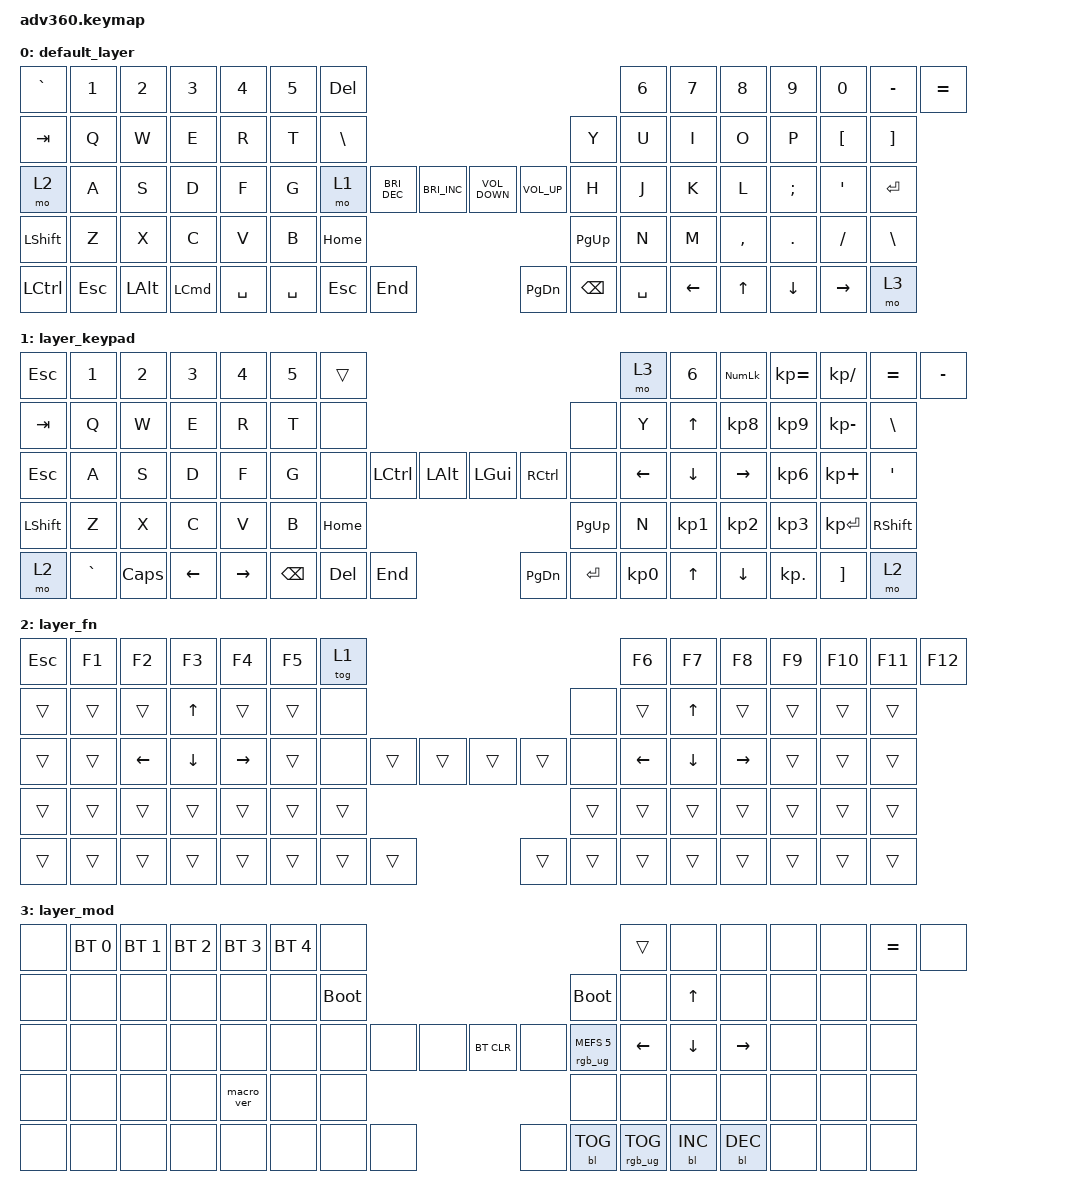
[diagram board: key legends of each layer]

/*
 * Copyright (c) 2020 The ZMK Contributors
 *
 * SPDX-License-Identifier: MIT
 */


/* THIS FILE WAS GENERATED!
 *
 * This file was generated automatically. You may or may not want to
 * edit it directly.
 */

#include <behaviors.dtsi>
#include <dt-bindings/zmk/keys.h>
#include <dt-bindings/zmk/bt.h>
#include <dt-bindings/zmk/rgb.h>
#include <dt-bindings/zmk/backlight.h>

/ {
  behaviors {
    #include "macros.dtsi"
    #include "version.dtsi"

    hm: homerow_mods {
        compatible = "zmk,behavior-hold-tap";
        label = "HOMEROW_MODS";
        #binding-cells = <2>;
        tapping-term-ms = <200>;
        quick_tap_ms = <175>;
        flavor = "tap-preferred";
        bindings = <&kp>, <&kp>;
    };
  };

    keymap {
        compatible = "zmk,keymap";


        default_layer {
            bindings = <
 &kp GRAVE   &kp N1        &kp N2            &kp N3     &kp N4  &kp N5               &kp DELETE                                                                                              &kp N6  &kp N7    &kp N8     &kp N9         &kp N0         &kp MINUS          &kp EQUAL
   &kp TAB    &kp Q         &kp W             &kp E      &kp R   &kp T            &kp BACKSLASH                                                                                               &kp Y   &kp U     &kp I      &kp O          &kp P  &kp LEFT_BRACKET  &kp RIGHT_BRACKET
     &mo 2    &kp A         &kp S             &kp D      &kp F   &kp G                    &mo 1  &kp C_BRIGHTNESS_DEC  &kp C_BRI_INC                  &kp C_VOLUME_DOWN  &kp C_VOLUME_UP      &kp H   &kp J     &kp K      &kp L  &kp SEMICOLON  &kp SINGLE_QUOTE          &kp ENTER
 &kp LSHFT    &kp Z         &kp X             &kp C      &kp V   &kp B                                                      &kp HOME                          &kp PG_UP                               &kp N     &kp M  &kp COMMA        &kp DOT          &kp FSLH      &kp BACKSLASH
 &kp LCTRL  &kp ESC  &kp LEFT_ALT  &kp LEFT_COMMAND  &kp SPACE                        &kp SPACE            &kp ESCAPE        &kp END                          &kp PG_DN    &kp BACKSPACE  &kp SPACE          &kp LEFT     &kp UP       &kp DOWN         &kp RIGHT              &mo 3
            >;
        };

        layer_keypad {
            bindings = <
 &kp ESCAPE     &kp N1    &kp N2    &kp N3     &kp N4  &kp N5              &trans                                                                 &mo 3    &kp N6  &kp KP_NUM  &kp KP_EQUAL  &kp KP_DIVIDE     &kp EQUAL  &kp MINUS
    &kp TAB      &kp Q     &kp W     &kp E      &kp R   &kp T               &none                                                                 &none     &kp Y      &kp UP     &kp KP_N8      &kp KP_N9  &kp KP_MINUS   &kp BSLH
    &kp ESC      &kp A     &kp S     &kp D      &kp F   &kp G               &none  &kp LCTRL  &kp LALT                   &kp LGUI  &kp RCTRL      &none  &kp LEFT    &kp DOWN     &kp RIGHT      &kp KP_N6   &kp KP_PLUS    &kp SQT
  &kp LSHFT      &kp Z     &kp X     &kp C      &kp V   &kp B                                 &kp HOME                  &kp PG_UP                           &kp N   &kp KP_N1     &kp KP_N2      &kp KP_N3  &kp KP_ENTER  &kp RSHFT
      &mo 2  &kp GRAVE  &kp CAPS  &kp LEFT  &kp RIGHT                    &kp BSPC    &kp DEL   &kp END                  &kp PG_DN  &kp ENTER  &kp KP_N0                &kp UP      &kp DOWN     &kp KP_DOT      &kp RBKT      &mo 2
            >;
        };

        layer_fn {
            bindings = <
 &kp ESCAPE  &kp F1    &kp F2    &kp F3     &kp F4  &kp F5            &tog 1                                                  &kp F6    &kp F7    &kp F8     &kp F9  &kp F10  &kp F11  &kp F12
     &trans  &trans    &trans    &kp UP     &trans  &trans             &none                                                   &none    &trans    &kp UP     &trans   &trans   &trans   &trans
     &trans  &trans  &kp LEFT  &kp DOWN  &kp RIGHT  &trans             &none  &trans  &trans                  &trans  &trans   &none  &kp LEFT  &kp DOWN  &kp RIGHT   &trans   &trans   &trans
     &trans  &trans    &trans    &trans     &trans  &trans                            &trans                  &trans                    &trans    &trans     &trans   &trans   &trans   &trans
     &trans  &trans    &trans    &trans     &trans                    &trans  &trans  &trans                  &trans  &trans  &trans              &trans     &trans   &trans   &trans   &trans
            >;
        };

        layer_mod {
            bindings = <
  &none  &bt BT_SEL 0  &bt BT_SEL 1  &bt BT_SEL 2  &bt BT_SEL 3  &bt BT_SEL 4                  &none                                                                          &trans     &none       &none       &none   &none  &kp EQUAL   &none
  &none         &none         &none         &none         &none         &none            &bootloader                                                                     &bootloader     &none      &kp UP       &none   &none      &none   &none
  &none         &none         &none         &none         &none         &none                  &none   &none   &none                  &bt BT_CLR       &none  &rgb_ug RGB_MEFS_CMD 5  &kp LEFT    &kp DOWN   &kp RIGHT   &none      &none   &none
  &none         &none         &none         &none    &macro_ver         &none                                  &none                       &none                                         &none       &none       &none   &none      &none   &none
  &none         &none         &none         &none         &none                                &none   &none   &none                       &none  &bl BL_TOG         &rgb_ug RGB_TOG            &bl BL_INC  &bl BL_DEC   &none      &none   &none
            >;
        };

    };
};
